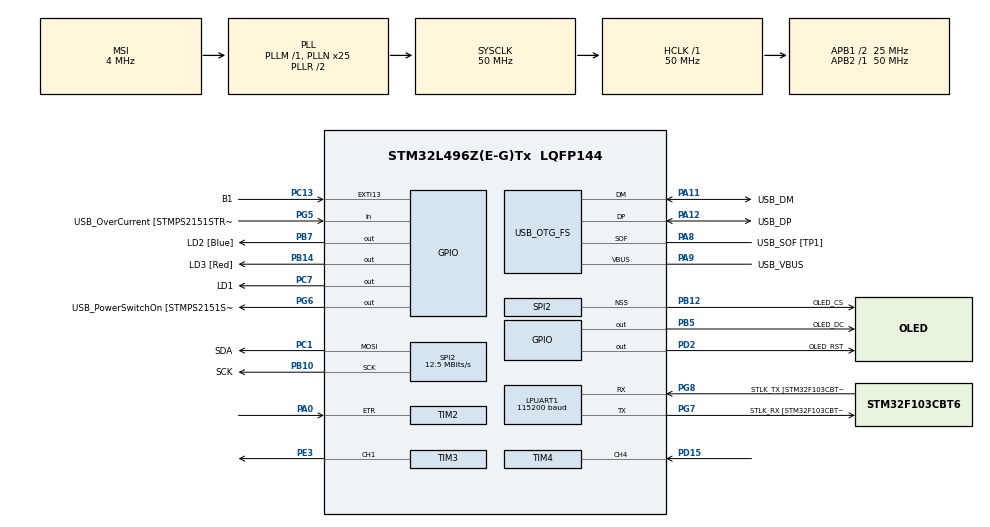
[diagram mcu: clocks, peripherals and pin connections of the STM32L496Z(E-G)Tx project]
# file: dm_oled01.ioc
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LPUART1.BaudRate=115200
LPUART1.WordLength=UART_WORDLENGTH_8B
Mcu.Family=STM32L4
Mcu.Name=STM32L496Z(E-G)Tx
Mcu.Package=LQFP144
NVIC.PriorityGroup=NVIC_PRIORITYGROUP_4
NVIC.TIM4_IRQn=true\:0\:0\:false\:false\:true\:true\:true\:true
PA0.Signal=S_TIM2_ETR
PA10.GPIO_Label=USB_ID
PA10.Signal=USB_OTG_FS_ID
PA11.GPIO_Label=USB_DM
PA11.Mode=Device_Only
PA11.Signal=USB_OTG_FS_DM
PA12.GPIO_Label=USB_DP
PA12.Mode=Device_Only
PA12.Signal=USB_OTG_FS_DP
PA13\ (JTMS/SWDIO).GPIO_Label=TMS
PA13\ (JTMS/SWDIO).Mode=Trace_Asynchronous_SW
PA13\ (JTMS/SWDIO).Signal=SYS_JTMS-SWDIO
PA14\ (JTCK/SWCLK).GPIO_Label=TCK
PA14\ (JTCK/SWCLK).Mode=Trace_Asynchronous_SW
PA14\ (JTCK/SWCLK).Signal=SYS_JTCK-SWCLK
PA8.GPIO_Label=USB_SOF [TP1]
PA8.Mode=Activate_SOF_FS
PA8.Signal=USB_OTG_FS_SOF
PA9.GPIO_Label=USB_VBUS
PA9.Mode=Activate_VBUS
PA9.Signal=USB_OTG_FS_VBUS
PB10.GPIO_Label=SCK
PB10.Mode=TX_Only_Simplex_Unidirect_Master
PB10.Signal=SPI2_SCK
PB12.GPIO_Label=OLED_CS
PB12.Mode=NSS_Signal_Hard_Output
PB12.Signal=SPI2_NSS
PB14.GPIO_Label=LD3 [Red]
PB14.Signal=GPIO_Output
PB3\ (JTDO/TRACESWO).GPIO_Label=SWO
PB3\ (JTDO/TRACESWO).Mode=Trace_Asynchronous_SW
PB3\ (JTDO/TRACESWO).Signal=SYS_JTDO-SWO
PB5.GPIO_Label=OLED_DC
PB5.GPIO_PuPd=GPIO_PULLUP
PB5.GPIO_Speed=GPIO_SPEED_FREQ_HIGH
PB5.Signal=GPIO_Output
PB7.GPIO_Label=LD2 [Blue]
PB7.GPIO_Speed=GPIO_SPEED_FREQ_LOW
PB7.Signal=GPIO_Output
PC1.GPIO_Label=SDA
PC1.Mode=TX_Only_Simplex_Unidirect_Master
PC1.Signal=SPI2_MOSI
PC13.GPIO_Label=B1
PC13.Signal=GPXTI13
PC14-OSC32_IN\ (PC14).Mode=LSE-External-Oscillator
PC14-OSC32_IN\ (PC14).Signal=RCC_OSC32_IN
PC15-OSC32_OUT\ (PC15).Mode=LSE-External-Oscillator
PC15-OSC32_OUT\ (PC15).Signal=RCC_OSC32_OUT
PC7.GPIO_Label=LD1
PC7.Signal=GPIO_Output
PD15.Signal=S_TIM4_CH4
PD2.GPIO_Label=OLED_RST
PD2.GPIO_PuPd=GPIO_PULLUP
PD2.GPIO_Speed=GPIO_SPEED_FREQ_HIGH
PD2.Signal=GPIO_Output
PE3.Signal=S_TIM3_CH1
PG5.GPIO_Label=USB_OverCurrent [STMPS2151STR_FAULT]
PG5.Signal=GPIO_Input
PG6.GPIO_Label=USB_PowerSwitchOn [STMPS2151STR_EN]
PG6.Signal=GPIO_Output
PG7.GPIO_Label=STLK_RX [STM32F103CBT6_PA3]
PG7.Mode=Asynchronous
PG7.Signal=LPUART1_TX
PG8.GPIO_Label=STLK_TX [STM32F103CBT6_PA2]
PG8.Mode=Asynchronous
PG8.Signal=LPUART1_RX
PH1-OSC_OUT\ (PH1).Signal=RCC_OSC_OUT
ProjectManager.HeapSize=0x200
ProjectManager.StackSize=0x400
ProjectManager.TargetToolchain=MDK-ARM V5.32
RCC.48MHZClocksFreq_Value=24000000
RCC.ADCFreq_Value=48000000
RCC.AHBFreq_Value=50000000
RCC.APB1CLKDivider=RCC_HCLK_DIV2
RCC.APB1Freq_Value=25000000
RCC.APB1TimFreq_Value=50000000
RCC.APB2Freq_Value=50000000
RCC.APB2TimFreq_Value=50000000
RCC.CortexFreq_Value=50000000
RCC.HCLKFreq_Value=50000000
RCC.HSE_VALUE=8000000
RCC.HSI48_VALUE=48000000
RCC.HSI_VALUE=16000000
RCC.MSI_VALUE=4000000
RCC.PLLMUL=RCC_PLL_MUL9
RCC.PLLN=25
RCC.PLLSAI1N=24
RCC.PRESCALERUSB=RCC_USBCLKSOURCE_PLL_DIV1_5
RCC.SYSCLKFreq_VALUE=50000000
RCC.SYSCLKSource=RCC_SYSCLKSOURCE_PLLCLK
RCC.SYSCLKSourceVirtual=RCC_SYSCLKSOURCE_PLLCLK
RCC.USBFreq_Value=48000000
RCC.VCOOutputFreq_Value=100000000
SH.S_TIM2_ETR.0=TIM2_ETR,ClockSourceETR_Mode2
SH.S_TIM3_CH1.0=TIM3_CH1,PWM Generation1 CH1
SH.S_TIM4_CH4.0=TIM4_CH4,Input_Capture4_from_TI4
SPI2.CalculateBaudRate=12.5 MBits/s
SPI2.Direction=SPI_DIRECTION_2LINES
SPI2.Mode=SPI_MODE_MASTER
SPI2.VirtualNSS=VM_NSSHARD
SPI2.VirtualType=VM_MASTER
TIM3.Channel-PWM\ Generation1\ CH1=TIM_CHANNEL_1
TIM3.Period=100-1
TIM3.Prescaler=500-1
TIM3.Pulse-PWM\ Generation1\ CH1=50-1
TIM4.Channel-Input_Capture4_from_TI4=TIM_CHANNEL_4
TIM4.Period=2000-1
TIM4.Prescaler=50000-1
USB_OTG_FS.VirtualMode=Device_Only
VP_TIM3_VS_ClockSourceINT.Mode=Internal
VP_TIM4_VS_ClockSourceINT.Mode=Internal
board=NUCLEO-L496ZG

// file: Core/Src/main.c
/* USER CODE BEGIN Header */
/**
  ******************************************************************************
  * @file           : main.c
  * @brief          : Main program body
  ******************************************************************************
  * @attention
  *
  * Copyright (c) 2023 STMicroelectronics.
  * All rights reserved.
  *
  * This software is licensed under terms that can be found in the LICENSE file
  * in the root directory of this software component.
  * If no LICENSE file comes with this software, it is provided AS-IS.
  *
  ******************************************************************************
  */
/* USER CODE END Header */
#include "main.h"
#include "usart.h"
#include "spi.h"
#include "tim.h"
#include "usb_otg.h"
#include "gpio.h"

/* USER CODE BEGIN Includes */
#include "oled.h"
#include "bmp.h"
#include "stdio.h"
#include "math.h"
/* USER CODE END Includes */

/* USER CODE BEGIN PD */
// #define p3 -2.754473214725226e-10
// #define p2 3.880617499823303e-06
// #define p1 0.004462373429928
// #define p0 -2.699917658824761
#define p3 -2.430422433894448e-10
#define p2 4.009034911700140e-06
#define p1 0.005319481128602
#define p0 -3.902463651665676
/* USER CODE END PD */

/* USER CODE BEGIN PV */
uint8_t startFlag = 0;
uint8_t endMeasureFlag = 0;
uint8_t caliFlag = 1;
uint8_t base; // 需校准
uint8_t paper;
float f_paper;
float Clk_Internal;
float frequency;
/* USER CODE END PV */

void SystemClock_Config(void);
/* USER CODE BEGIN PFP */
int fputc(int ch, FILE *f)
{
    HAL_UART_Transmit(&hlpuart1, (uint8_t *)&ch, 1 , 0xffff);
    return ch;
}
/* USER CODE END PFP */

int main(void)
{

  /* MCU Configuration--------------------------------------------------------*/

  /* Reset of all peripherals, Initializes the Flash interface and the Systick. */
  HAL_Init();

  /* Configure the system clock */
  SystemClock_Config();

  /* Initialize all configured peripherals */
  MX_GPIO_Init();
  MX_LPUART1_UART_Init();
  MX_USB_OTG_FS_PCD_Init();
  MX_TIM3_Init();
  MX_TIM4_Init();
  MX_TIM2_Init();
  MX_SPI2_Init();
  /* USER CODE BEGIN 2 */
  printf("ready to go!\n");
  OLED_Init();

  // PA4 输出即可
  /* USER CODE END 2 */

  /* Infinite loop */
  /* USER CODE BEGIN WHILE */
  while (1)
  {
    // OLED_ShowPicture(0,0,128,8,BMP1);
    // HAL_Delay(500);
		// OLED_Clear();
		// OLED_ShowChinese(0,0,0,16);//中
		// OLED_ShowChinese(18,0,1,16);//景
		// OLED_ShowChinese(36,0,2,16);//园
		// OLED_ShowChinese(54,0,3,16);//电
		// OLED_ShowChinese(72,0,4,16);//子
		// OLED_ShowChinese(90,0,5,16);//科
		// OLED_ShowChinese(108,0,6,16);//技
		// OLED_ShowString(8,16,"ZHONGJINGYUAN",16);
		// OLED_ShowString(20,32,"2014/05/01",16);
		// OLED_ShowString(0,48,"ASCII:",16);
		// OLED_ShowString(63,48,"CODE:",16);
		// OLED_ShowChar(48,48,t,16);//显示ASCII字符
		// t++;
		// if (t > 50) t= 0;
		// OLED_ShowNum(103,48,t,3,16);
		// OLED_Refresh();
		// HAL_Delay(500);
		// OLED_Clear();
		// OLED_ShowChinese(0,0,0,16);  //16*16 中
	  // OLED_ShowChinese(16,0,0,24); //24*24 中
		// OLED_ShowChinese(24,20,0,32);//32*32 中
	  // OLED_ShowChinese(64,0,0,64); //64*64 中
		// OLED_Refresh();
	  // HAL_Delay(500);
  	// OLED_Clear();
		// OLED_ShowString(0,0,"ABC",12);//6*12 “ABC”
	  // OLED_ShowString(0,12,"ABC",16);//8*16 “ABC”
		// OLED_ShowString(0,28,"ABC",24);//12*24 “ABC”
	  // OLED_Refresh();
		// HAL_Delay(500);
		// OLED_ScrollDisplay(11,4);
    /* USER CODE END WHILE */

    /* USER CODE BEGIN 3 */

    if (HAL_GPIO_ReadPin(B1_GPIO_Port, B1_Pin) == GPIO_PIN_SET){ //*pc13 push button
          startFlag = 1;
          HAL_Delay(500);
          OLED_Clear();
          OLED_ShowChinese(0,0,0,16);//纸
		      OLED_ShowChinese(18,0,1,16);//张
		      OLED_ShowChinese(36,0,2,16);//数
		      OLED_ShowChinese(54,0,3,16);//量
		      OLED_ShowChinese(72,0,4,16);//：
          OLED_Refresh();
          HAL_TIM_PWM_Start(&htim3, TIM_CHANNEL_1); // 启动PWM 扬声器响
          HAL_Delay(1000);
          HAL_TIM_PWM_Stop(&htim3, TIM_CHANNEL_1);
    }
    // if (startFlag || caliFlag){
    if (startFlag) {
        //todo Open TIM4 (IT)
        // caliFlag = 0;
        Clk_Internal = HAL_RCC_GetHCLKFreq() / (float)((TIM4->PSC + 1)*(TIM4->ARR + 1));

        HAL_GPIO_WritePin(LD1_GPIO_Port, LD1_Pin, GPIO_PIN_SET); // 绿灯
        HAL_TIM_Base_Start(&htim2);
        HAL_TIM_Base_Start_IT(&htim4);
        TIM4->CNT = 0;
        TIM2->CNT = 0;
        startFlag = 0;
        endMeasureFlag = 1;
    }
  }
  /* USER CODE END 3 */
}

void SystemClock_Config(void)
{
  RCC_OscInitTypeDef RCC_OscInitStruct = {0};
  RCC_ClkInitTypeDef RCC_ClkInitStruct = {0};

  /** Configure the main internal regulator output voltage
  */
  if (HAL_PWREx_ControlVoltageScaling(PWR_REGULATOR_VOLTAGE_SCALE1) != HAL_OK)
  {
    Error_Handler();
  }

  /** Configure LSE Drive Capability
  */
  HAL_PWR_EnableBkUpAccess();
  __HAL_RCC_LSEDRIVE_CONFIG(RCC_LSEDRIVE_LOW);

  /** Initializes the RCC Oscillators according to the specified parameters
  * in the RCC_OscInitTypeDef structure.
  */
  RCC_OscInitStruct.OscillatorType = RCC_OSCILLATORTYPE_LSE|RCC_OSCILLATORTYPE_MSI;
  RCC_OscInitStruct.LSEState = RCC_LSE_ON;
  RCC_OscInitStruct.MSIState = RCC_MSI_ON;
  RCC_OscInitStruct.MSICalibrationValue = 0;
  RCC_OscInitStruct.MSIClockRange = RCC_MSIRANGE_6;
  RCC_OscInitStruct.PLL.PLLState = RCC_PLL_ON;
  RCC_OscInitStruct.PLL.PLLSource = RCC_PLLSOURCE_MSI;
  RCC_OscInitStruct.PLL.PLLM = 1;
  RCC_OscInitStruct.PLL.PLLN = 25;
  RCC_OscInitStruct.PLL.PLLP = RCC_PLLP_DIV2;
  RCC_OscInitStruct.PLL.PLLQ = RCC_PLLQ_DIV2;
  RCC_OscInitStruct.PLL.PLLR = RCC_PLLR_DIV2;
  if (HAL_RCC_OscConfig(&RCC_OscInitStruct) != HAL_OK)
  {
    Error_Handler();
  }

  /** Initializes the CPU, AHB and APB buses clocks
  */
  RCC_ClkInitStruct.ClockType = RCC_CLOCKTYPE_HCLK|RCC_CLOCKTYPE_SYSCLK
                              |RCC_CLOCKTYPE_PCLK1|RCC_CLOCKTYPE_PCLK2;
  RCC_ClkInitStruct.SYSCLKSource = RCC_SYSCLKSOURCE_PLLCLK;
  RCC_ClkInitStruct.AHBCLKDivider = RCC_SYSCLK_DIV1;
  RCC_ClkInitStruct.APB1CLKDivider = RCC_HCLK_DIV2;
  RCC_ClkInitStruct.APB2CLKDivider = RCC_HCLK_DIV1;

  if (HAL_RCC_ClockConfig(&RCC_ClkInitStruct, FLASH_LATENCY_3) != HAL_OK)
  {
    Error_Handler();
  }

  /** Enable MSI Auto calibration
  */
  HAL_RCCEx_EnableMSIPLLMode();
}

/* USER CODE BEGIN 4 */
void HAL_TIM_PeriodElapsedCallback(TIM_HandleTypeDef *htim) // 溢出回调
{
  if (htim->Instance == TIM4){
      if (endMeasureFlag) {
        endMeasureFlag = 0;
        HAL_TIM_Base_Stop_IT(&htim4); // 后续可能改成连续测量
        // HAL_TIM_PWM_Stop(&htim3, TIM_CHANNEL_1);
        HAL_TIM_Base_Stop(&htim2);
        HAL_GPIO_WritePin(LD1_GPIO_Port, LD1_Pin, GPIO_PIN_RESET);
        // if (caliFlag) {
        //     caliFlag = 0;
        //     base =
        // else {
          frequency = TIM2->CNT * Clk_Internal;
          f_paper = (p3*pow(frequency,3) + p2*pow(frequency, 2) + p1 * frequency + p0) + 0.5;
          printf("freq: %.2f @%.2f\n", frequency, f_paper);
          // printf("f_paper: %.3f\n", f_paper);
          paper = (uint8_t) f_paper;

          // if (f_paper < 0) paper = 0;
          // printf("$%d\n", paper);
          // OLED_ShowNum(54,32,paper,2,24); // oled
          // OLED_Refresh();
          // startFlag = 1;
          // todo oled显示数量
          if (f_paper <= 0) {
            printf("SHORT CIRCUIT\n");
            OLED_ShowString(32,32,"SHORT CIRCUIT",16);
            OLED_Refresh();

            HAL_TIM_PWM_Start(&htim3, TIM_CHANNEL_1);
            HAL_GPIO_WritePin(LD3_GPIO_Port, LD3_Pin, GPIO_PIN_SET);
            HAL_Delay(1000);
            HAL_TIM_PWM_Stop(&htim3, TIM_CHANNEL_1);
            HAL_GPIO_WritePin(LD3_GPIO_Port, LD3_Pin, GPIO_PIN_RESET);
          }
          else {
            printf("$%d\n", paper); // my app
            OLED_ShowNum(54,32,paper,2,24); // oled
            OLED_Refresh();
          }

          startFlag = 1;
        // }

    }
  }

}

/* USER CODE END 4 */

void Error_Handler(void)
{
  __disable_irq();
  while (1)
  {
  }
}
